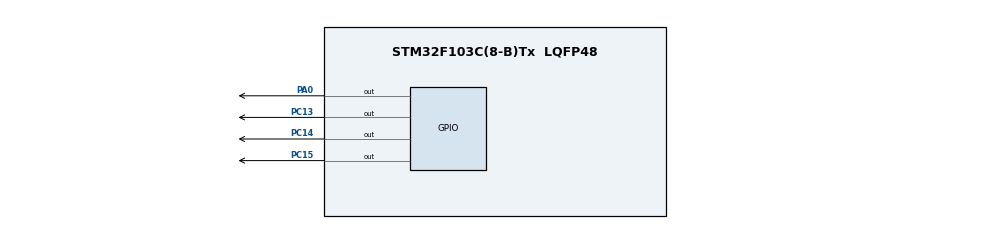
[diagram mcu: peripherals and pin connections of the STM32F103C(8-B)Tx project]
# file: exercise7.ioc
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FREERTOS.Tasks01=defaultTask,24,128,StartDefaultTask,Default,NULL,Dynamic,NULL,NULL;greenLed,24,128,GreenLed,Default,NULL,Dynamic,NULL,NULL;redLed,24,128,RedLed,Default,NULL,Dynamic,NULL,NULL;orangeLed,32,128,OrangeLed,Default,NULL,Dynamic,NULL,NULL
FREERTOS.configUSE_NEWLIB_REENTRANT=1
Mcu.Family=STM32F1
Mcu.Name=STM32F103C(8-B)Tx
Mcu.Package=LQFP48
NVIC.PriorityGroup=NVIC_PRIORITYGROUP_4
NVIC.TIM4_IRQn=true\:15\:0\:false\:false\:true\:false\:false\:true\:true
NVIC.TimeBase=TIM4_IRQn
NVIC.TimeBaseIP=TIM4
PA0-WKUP.Signal=GPIO_Output
PA13.Mode=Trace_Asynchronous_SW
PA13.Signal=SYS_JTMS-SWDIO
PA14.Mode=Trace_Asynchronous_SW
PA14.Signal=SYS_JTCK-SWCLK
PB3.Mode=Trace_Asynchronous_SW
PB3.Signal=SYS_JTDO-TRACESWO
PC13-TAMPER-RTC.Signal=GPIO_Output
PC14-OSC32_IN.Signal=GPIO_Output
PC15-OSC32_OUT.Signal=GPIO_Output
ProjectManager.HeapSize=0x200
ProjectManager.StackSize=0x400
ProjectManager.TargetToolchain=STM32CubeIDE
RCC.APB1Freq_Value=8000000
RCC.APB2Freq_Value=8000000
VP_FREERTOS_VS_CMSIS_V2.Mode=CMSIS_V2
VP_SYS_VS_tim4.Mode=TIM4
board=custom

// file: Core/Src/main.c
/* USER CODE BEGIN Header */
/**
  ******************************************************************************
  * @file           : main.c
  * @brief          : Main program body
  ******************************************************************************
  * @attention
  *
  * Copyright (c) 2024 STMicroelectronics.
  * All rights reserved.
  *
  * This software is licensed under terms that can be found in the LICENSE file
  * in the root directory of this software component.
  * If no LICENSE file comes with this software, it is provided AS-IS.
  *
  ******************************************************************************
  */
/* USER CODE END Header */
#include "main.h"
#include "cmsis_os.h"
#include "task.h"

/* Definitions for defaultTask */
osThreadId_t defaultTaskHandle;
const osThreadAttr_t defaultTask_attributes = {
  .name = "defaultTask",
  .stack_size = 128 * 4,
  .priority = (osPriority_t) osPriorityNormal,
};
/* Definitions for greenLed */
osThreadId_t greenLedHandle;
const osThreadAttr_t greenLed_attributes = {
  .name = "greenLed",
  .stack_size = 128 * 4,
  .priority = (osPriority_t) osPriorityNormal,
};
/* Definitions for redLed */
osThreadId_t redLedHandle;
const osThreadAttr_t redLed_attributes = {
  .name = "redLed",
  .stack_size = 128 * 4,
  .priority = (osPriority_t) osPriorityNormal,
};
/* Definitions for orangeLed */
osThreadId_t orangeLedHandle;
const osThreadAttr_t orangeLed_attributes = {
  .name = "orangeLed",
  .stack_size = 128 * 4,
  .priority = (osPriority_t) osPriorityAboveNormal,
};
/* USER CODE BEGIN PV */
uint8_t StartFlag; // 1 means Up, 0 means Down
volatile uint8_t RedFlag; // 1 means Up, 0 means Down
volatile uint8_t GreenFlag; // 1 means Up, 0 means Down
/* USER CODE END PV */

void SystemClock_Config(void);
static void MX_GPIO_Init(void);
void StartDefaultTask(void *argument);
void GreenLed(void *argument);
void RedLed(void *argument);
void OrangeLed(void *argument);

int main(void)
{

  /* USER CODE BEGIN 1 */
	StartFlag = 1;
	GreenFlag = 1;
	RedFlag = 1;
  /* USER CODE END 1 */

  /* MCU Configuration--------------------------------------------------------*/

  /* Reset of all peripherals, Initializes the Flash interface and the Systick. */
  HAL_Init();

  /* Configure the system clock */
  SystemClock_Config();

  /* Initialize all configured peripherals */
  MX_GPIO_Init();
  HAL_GPIO_WritePin(GPIOC, GPIO_PIN_13, GPIO_PIN_SET);

  /* Init scheduler */
  osKernelInitialize();

  /* Create the thread(s) */
  /* creation of defaultTask */
  defaultTaskHandle = osThreadNew(StartDefaultTask, NULL, &defaultTask_attributes);

  /* creation of greenLed */
  greenLedHandle = osThreadNew(GreenLed, NULL, &greenLed_attributes);

  /* creation of redLed */
  redLedHandle = osThreadNew(RedLed, NULL, &redLed_attributes);

  /* creation of orangeLed */
  orangeLedHandle = osThreadNew(OrangeLed, NULL, &orangeLed_attributes);

  /* Start scheduler */
  osKernelStart();

  /* We should never get here as control is now taken by the scheduler */

  /* Infinite loop */
  while (1)
  {

  }
}

void SystemClock_Config(void)
{
  RCC_OscInitTypeDef RCC_OscInitStruct = {0};
  RCC_ClkInitTypeDef RCC_ClkInitStruct = {0};

  /** Initializes the RCC Oscillators according to the specified parameters
  * in the RCC_OscInitTypeDef structure.
  */
  RCC_OscInitStruct.OscillatorType = RCC_OSCILLATORTYPE_HSI;
  RCC_OscInitStruct.HSIState = RCC_HSI_ON;
  RCC_OscInitStruct.HSICalibrationValue = RCC_HSICALIBRATION_DEFAULT;
  RCC_OscInitStruct.PLL.PLLState = RCC_PLL_NONE;
  if (HAL_RCC_OscConfig(&RCC_OscInitStruct) != HAL_OK)
  {
    Error_Handler();
  }

  /** Initializes the CPU, AHB and APB buses clocks
  */
  RCC_ClkInitStruct.ClockType = RCC_CLOCKTYPE_HCLK|RCC_CLOCKTYPE_SYSCLK
                              |RCC_CLOCKTYPE_PCLK1|RCC_CLOCKTYPE_PCLK2;
  RCC_ClkInitStruct.SYSCLKSource = RCC_SYSCLKSOURCE_HSI;
  RCC_ClkInitStruct.AHBCLKDivider = RCC_SYSCLK_DIV1;
  RCC_ClkInitStruct.APB1CLKDivider = RCC_HCLK_DIV1;
  RCC_ClkInitStruct.APB2CLKDivider = RCC_HCLK_DIV1;

  if (HAL_RCC_ClockConfig(&RCC_ClkInitStruct, FLASH_LATENCY_0) != HAL_OK)
  {
    Error_Handler();
  }
}

static void MX_GPIO_Init(void)
{
  GPIO_InitTypeDef GPIO_InitStruct = {0};

  /* GPIO Ports Clock Enable */
  __HAL_RCC_GPIOC_CLK_ENABLE();
  __HAL_RCC_GPIOA_CLK_ENABLE();
  __HAL_RCC_GPIOB_CLK_ENABLE();

  /*Configure GPIO pin Output Level */
  HAL_GPIO_WritePin(GPIOC, GPIO_PIN_13|GPIO_PIN_14|GPIO_PIN_15, GPIO_PIN_RESET);

  /*Configure GPIO pin Output Level */
  HAL_GPIO_WritePin(GPIOA, GPIO_PIN_0, GPIO_PIN_RESET);

  /*Configure GPIO pins : PC13 PC14 PC15 */
  GPIO_InitStruct.Pin = GPIO_PIN_13|GPIO_PIN_14|GPIO_PIN_15;
  GPIO_InitStruct.Mode = GPIO_MODE_OUTPUT_PP;
  GPIO_InitStruct.Pull = GPIO_NOPULL;
  GPIO_InitStruct.Speed = GPIO_SPEED_FREQ_LOW;
  HAL_GPIO_Init(GPIOC, &GPIO_InitStruct);

  /*Configure GPIO pin : PA0 */
  GPIO_InitStruct.Pin = GPIO_PIN_0;
  GPIO_InitStruct.Mode = GPIO_MODE_OUTPUT_PP;
  GPIO_InitStruct.Pull = GPIO_NOPULL;
  GPIO_InitStruct.Speed = GPIO_SPEED_FREQ_LOW;
  HAL_GPIO_Init(GPIOA, &GPIO_InitStruct);

}

void StartDefaultTask(void *argument)
{
  for(;;)
  {
    osDelay(1);
  }
}

void GreenLed(void *argument)
{
  /* USER CODE BEGIN GreenLed */
  /* Infinite loop */
  for(;;)
  {
      GreenFlag = 1;
      // Turn on Green LED
      HAL_GPIO_WritePin(GPIOC, GPIO_PIN_14, GPIO_PIN_SET);

      // Enter critical section
      taskENTER_CRITICAL();
      AccessSharedData();
      taskEXIT_CRITICAL(); // Corrected macro usage

      // Turn off Green LED
      osDelay(200);
      HAL_GPIO_WritePin(GPIOC, GPIO_PIN_14, GPIO_PIN_RESET);

      GreenFlag = 0;
      // Delay for 500 milliseconds
      osDelay(200);
  }
  /* USER CODE END GreenLed */
}

void RedLed(void *argument)
{
  /* USER CODE BEGIN RedLed */
  /* Infinite loop */
  for(;;)
  {
      RedFlag = 1;
      // Turn on Red LED
      HAL_GPIO_WritePin(GPIOC, GPIO_PIN_15, GPIO_PIN_SET);

      // Enter critical section
      taskENTER_CRITICAL();
      AccessSharedData();
      taskEXIT_CRITICAL(); // Corrected macro usage

      // Turn off Red LED
      osDelay(550);
      HAL_GPIO_WritePin(GPIOC, GPIO_PIN_15, GPIO_PIN_RESET);

      RedFlag = 0;
      // Delay for 100 milliseconds
      osDelay(550);
  }
  /* USER CODE END RedLed */
}

void AccessSharedData(void) {
    if (StartFlag == 1) {
        // Set Start flag to Down to indicate resource is in use
        StartFlag = 0;
    } else {
        // Resource contention: Turn on Blue LED
        HAL_GPIO_WritePin(GPIOC, GPIO_PIN_13, GPIO_PIN_SET);
    }

    // Simulate read/write operations with a delay of 500 milliseconds
    SimulateReadWriteOperation();

    // Set Start flag back to Up to indicate resource is free
    StartFlag = 1;

    // Turn off Blue LED (if it was turned on during contention)
    HAL_GPIO_WritePin(GPIOC, GPIO_PIN_13, GPIO_PIN_RESET);
}

void SimulateReadWriteOperation(void) {
    volatile uint32_t delay_count = 0;
    const uint32_t delay_target = 2000000; // Adjust this value to approximate 500 ms

    // Dummy loop to simulate processing time
    for (delay_count = 0; delay_count < delay_target; delay_count++) {
        __asm("nop"); // No Operation: Keeps the processor busy without changing code behavior
    }
}

void OrangeLed(void *argument)
{
  /* USER CODE BEGIN OrangeLed */
  /* Infinite loop */
  for(;;)
  {
	  HAL_GPIO_TogglePin(GPIOA, GPIO_PIN_0);
	  osDelay(50);
  }
  /* USER CODE END OrangeLed */
}

void HAL_TIM_PeriodElapsedCallback(TIM_HandleTypeDef *htim)
{
  if (htim->Instance == TIM4) {
    HAL_IncTick();
  }
}

void Error_Handler(void)
{
  __disable_irq();
  while (1)
  {
  }
}
